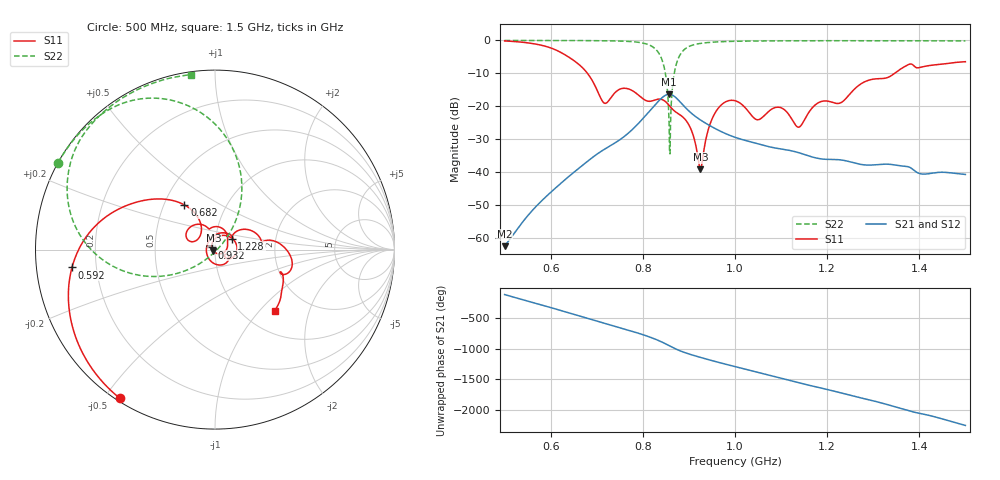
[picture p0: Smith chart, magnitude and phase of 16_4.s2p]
! TOUCHSTONE file generated by CST MICROWAVE STUDIO
! Date and time: Fri Oct  2 16:56:25 2020
! Project name: Scenario_1_Free_Space_out_of_line.cst
! Parameters = {Lambda=346.42; Step_1=17.321; dy1=87.525; dx1=693; L_HA=400; MT=2.54; Rad_Dielectric=30; Rad_Lower=7.3; Rad_Upper=30; a_HA=580; a_WG=246; b_HA=500; b_WG=121; c_HA=0; c_WG=187; d_feed=85; h_feed=15; h_lower=18; h_upper=40}
! Header version: 2018
! Port assignment regex: !\s*Touchstone port\s*([0-9]+)\s*=\s*(CST MWS port|CST DS port)\s*([0-9]+|Zmin|Zmax)\s*\(\"(.*)\"\)(\s*mode\s*([0-9]+))?.*
! Touchstone port assignment:
! Touchstone port 1 = CST MWS port 1 ("")
! Touchstone port 2 = CST MWS port 2 ("")
# GHz S DB R 50
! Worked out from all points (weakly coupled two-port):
!   1003 points, 500 MHz to 1.5 GHz, reference 50 ohm
!   highest |S21| = -16.35 dB at 857 MHz (marker M1); lowest = -62.5 dB at 500 MHz (marker M2)
!   lowest |S11| = -39.2 dB at 925 MHz (marker M3), VSWR 1.02, Z = 49.1 - j0.633 ohm
!   |S11| at or under -10 dB: 679.8 MHz to 1.346 GHz (666.4 MHz wide, 65.8 % of centre)
!   |S22| runs from -34.5 to 0.0 dB; largest |S21 - S12| = 0.0001
!   S11 on the Smith chart (normalised r, x): 500 MHz: 0.01, -0.55; 592 MHz: 0.11, -0.06; 682 MHz: 0.63, +0.35; 932 MHz: 0.97, +0.02; 1.228 GHz: 1.20, +0.15; 1.5 GHz: 1.38, -1.21
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0.5  -0.15 -122.7  -62.49 -118.3  -62.49 -118.3  -0.01 151.1
0.592  -1.91 -172.9  -47.17 46.6  -47.18 46.7  -0.02 144.7
0.667  -8.01 135.0  -38.16 -117.4  -38.16 -117.4  -0.04 138.3
0.682  -10.41 124.4  -36.49 -150.7  -36.49 -150.7  -0.06 136.8
0.717  -19.09 141.1  -33.03 129.8  -33.03 129.8  -0.10 132.6
0.758  -14.53 144.9  -29.35 41.5  -29.36 41.5  -0.22 125.7
0.834  -17.83 87.6  -18.43 -147.9  -18.43 -147.9  -3.72 86.1
0.848  -18.45 63.2  -16.74 163.1  -16.74 163.1  -9.31 64.3
0.857  -19.72 48.3  -16.35 128.4  -16.35 128.4  -25.55 38.9
0.878  -22.35 22.7  -18.24 52.5  -18.24 52.5  -5.12 -169.1
0.904  -26.83 -27.3  -21.94 -16.8  -21.94 -16.8  -1.61 165.8
0.925  -39.19 -144.0  -24.16 -63.5  -24.16 -63.5  -0.90 156.0
0.932  -33.77 144.5  -24.78 -78.4  -24.78 -78.4  -0.77 153.7
0.958  -21.73 69.7  -26.85 -132.1  -26.85 -132.1  -0.47 147.2
1  -18.31 -5.3  -29.42 146.6  -29.42 146.6  -0.26 140.2
1.048  -24.08 -29.7  -31.35 55.5  -31.34 55.5  -0.17 134.6
1.101  -20.51 -63.0  -33.00 -43.4  -32.99 -43.3  -0.12 129.6
1.137  -26.35 -179.6  -34.04 -113.4  -34.04 -113.4  -0.11 126.6
1.167  -20.58 75.9  -35.38 -169.1  -35.38 -169.1  -0.09 124.2
1.228  -19.02 33.3  -36.27 80.5  -36.26 80.5  -0.09 119.5
1.334  -11.10 9.9  -37.61 -120.2  -37.61 -120.2  -0.09 111.4
1.5  -6.46 -45.6  -40.71 -93.5  -40.71 -93.5  -0.14 97.9
